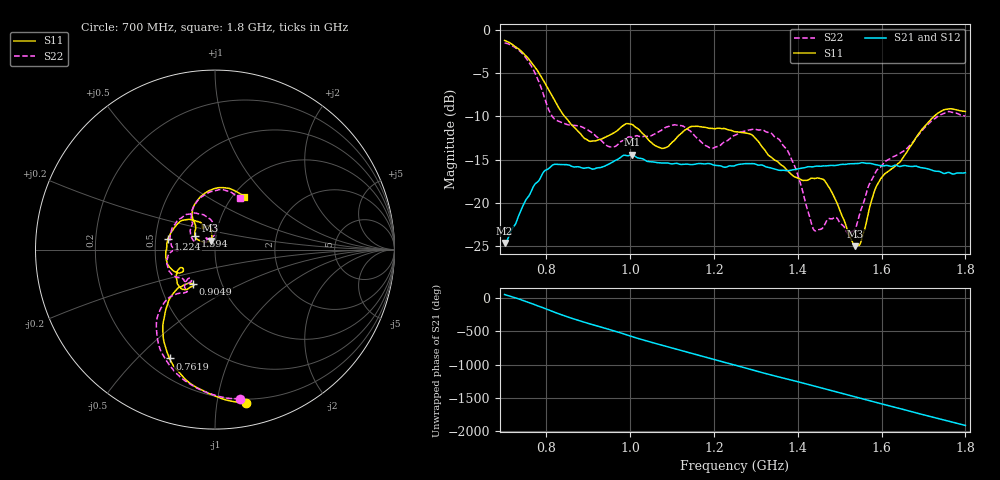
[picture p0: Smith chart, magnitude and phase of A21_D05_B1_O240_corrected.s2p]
! Created with skrf 1.9.0 (http://scikit-rf.org).
# Hz S RI R 50.0
!freq ReS11 ImS11 ReS21 ImS21 ReS12 ImS12 ReS22 ImS22
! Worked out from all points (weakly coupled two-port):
!   1601 points, 700 MHz to 1.8 GHz, reference 50 ohm
!   highest |S21| = -14.44 dB at 1.004 GHz (marker M1); lowest = -24.6 dB at 700 MHz (marker M2)
!   lowest |S11| = -25.0 dB at 1.537 GHz (marker M3), VSWR 1.12, Z = 47.3 + j4.79 ohm
!   |S11| at or under -10 dB: 843.3 MHz to 1.725 GHz (881.7 MHz wide, 68.7 % of centre)
!   |S22| runs from -23.6 to -1.5 dB; largest |S21 - S12| = 0.0035
!   S11 on the Smith chart (normalised r, x): 700 MHz: 0.17, -1.21; 761.9 MHz: 0.29, -0.63; 904.9 MHz: 0.73, -0.29; 1.224 GHz: 0.58, +0.07; 1.594 GHz: 0.79, +0.12; 1.8 GHz: 1.13, +0.75
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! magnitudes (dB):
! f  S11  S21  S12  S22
! 700 MHz  -1.2  -24.6  -24.4  -1.5
! 761.9 MHz  -3.6  -18.8  -18.8  -4.0
! 816.2 MHz  -7.9  -15.6  -15.7  -10.2
! 883.6 MHz  -12.1  -15.9  -15.8  -11.2
! 904.9 MHz  -12.9  -16.0  -16.0  -11.8
! 953.7 MHz  -12.1  -15.4  -15.4  -13.5
! 1.004 GHz  -10.9  -14.4  -14.6  -12.4
! 1.067 GHz  -13.5  -15.4  -15.3  -11.8
! 1.145 GHz  -11.2  -15.6  -15.6  -11.8
! 1.191 GHz  -11.4  -15.5  -15.5  -13.7
! 1.224 GHz  -11.4  -15.9  -15.9  -13.0
! 1.25 GHz  -11.8  -15.7  -15.6  -12.2
! 1.357 GHz  -15.4  -16.2  -16.2  -12.7
! 1.394 GHz  -17.0  -16.1  -16.1  -15.9
! 1.434 GHz  -17.1  -15.8  -15.8  -22.6
! 1.471 GHz  -18.0  -15.7  -15.7  -21.9
! 1.537 GHz  -25.0  -15.5  -15.5  -23.0
! 1.551 GHz  -24.4  -15.4  -15.4  -20.7
! 1.594 GHz  -17.5  -15.7  -15.6  -16.0
! 1.617 GHz  -16.3  -15.7  -15.7  -15.0
! 1.732 GHz  -9.7  -16.3  -16.4  -10.1
! 1.8 GHz  -9.4  -16.5  -16.5  -10.0
